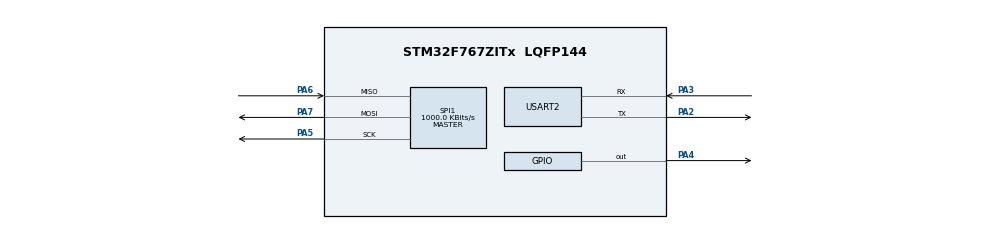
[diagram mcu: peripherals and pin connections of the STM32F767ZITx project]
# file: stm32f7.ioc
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Mcu.Family=STM32F7
Mcu.Name=STM32F767ZITx
Mcu.Package=LQFP144
NVIC.PriorityGroup=NVIC_PRIORITYGROUP_4
PA2.Mode=Asynchronous
PA2.Signal=USART2_TX
PA3.Mode=Asynchronous
PA3.Signal=USART2_RX
PA4.Signal=GPIO_Output
PA5.Mode=Full_Duplex_Master
PA5.Signal=SPI1_SCK
PA6.Mode=Full_Duplex_Master
PA6.Signal=SPI1_MISO
PA7.Mode=Full_Duplex_Master
PA7.Signal=SPI1_MOSI
ProjectManager.HeapSize=0x200
ProjectManager.StackSize=0x400
ProjectManager.TargetToolchain=SW4STM32
RCC.HSE_VALUE=25000000
RCC.HSI_VALUE=16000000
RCC.LSE_VALUE=32768
RCC.USBFreq_Value=96000000
RCC.VCOOutputFreq_Value=192000000
SPI1.BaudRatePrescaler=SPI_BAUDRATEPRESCALER_16
SPI1.CalculateBaudRate=1000.0 KBits/s
SPI1.DataSize=SPI_DATASIZE_8BIT
SPI1.Direction=SPI_DIRECTION_2LINES
SPI1.Mode=SPI_MODE_MASTER
SPI1.VirtualType=VM_MASTER
USART2.VirtualMode-Asynchronous=VM_ASYNC
board=custom

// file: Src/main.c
/* USER CODE BEGIN Header */
/**
  ******************************************************************************
  * @file           : main.c
  * @brief          : Main program body
  ******************************************************************************
  ** This notice applies to any and all portions of this file
  * that are not between comment pairs USER CODE BEGIN and
  * USER CODE END. Other portions of this file, whether
  * inserted by the user or by software development tools
  * are owned by their respective copyright owners.
  *
  * COPYRIGHT(c) 2018 STMicroelectronics
  *
  * Redistribution and use in source and binary forms, with or without modification,
  * are permitted provided that the following conditions are met:
  *   1. Redistributions of source code must retain the above copyright notice,
  *      this list of conditions and the following disclaimer.
  *   2. Redistributions in binary form must reproduce the above copyright notice,
  *      this list of conditions and the following disclaimer in the documentation
  *      and/or other materials provided with the distribution.
  *   3. Neither the name of STMicroelectronics nor the names of its contributors
  *      may be used to endorse or promote products derived from this software
  *      without specific prior written permission.
  *
  * THIS SOFTWARE IS PROVIDED BY THE COPYRIGHT HOLDERS AND CONTRIBUTORS "AS IS"
  * AND ANY EXPRESS OR IMPLIED WARRANTIES, INCLUDING, BUT NOT LIMITED TO, THE
  * IMPLIED WARRANTIES OF MERCHANTABILITY AND FITNESS FOR A PARTICULAR PURPOSE ARE
  * DISCLAIMED. IN NO EVENT SHALL THE COPYRIGHT HOLDER OR CONTRIBUTORS BE LIABLE
  * FOR ANY DIRECT, INDIRECT, INCIDENTAL, SPECIAL, EXEMPLARY, OR CONSEQUENTIAL
  * DAMAGES (INCLUDING, BUT NOT LIMITED TO, PROCUREMENT OF SUBSTITUTE GOODS OR
  * SERVICES; LOSS OF USE, DATA, OR PROFITS; OR BUSINESS INTERRUPTION) HOWEVER
  * CAUSED AND ON ANY THEORY OF LIABILITY, WHETHER IN CONTRACT, STRICT LIABILITY,
  * OR TORT (INCLUDING NEGLIGENCE OR OTHERWISE) ARISING IN ANY WAY OUT OF THE USE
  * OF THIS SOFTWARE, EVEN IF ADVISED OF THE POSSIBILITY OF SUCH DAMAGE.
  *
  ******************************************************************************
  */
/* USER CODE END Header */

#include "main.h"

/* USER CODE BEGIN Includes */
#include "ltc6813.h"
/* USER CODE END Includes */

SPI_HandleTypeDef hspi1;

UART_HandleTypeDef huart2;

/* USER CODE BEGIN PV */
/* Private variables ---------------------------------------------------------*/
uint8_t cell_data[18];
float cell_voltages[36];
float gpio_voltages[18];
uint16_t  cell_v[36][2];
uint16_t gpio_v[18][2];
uint16_t dcc_b[18] =  {

{0x01},//DCC1  0x01  cfg4a
{0x02},//DCC2  0x02
{0x04},//DCC3  0x04
{0x08},//DCC4  0x08-
{0x10},//DCC5  0x10-
{0x20},//DCC6  0x20-
{0x40},//DCC7  0x40-
{0x80},//DCC8  0x80-

{0x01},//DCC9  0x01    cfg5A
{0x02},//DCC10  0x02
{0x04},//DCC11  0x04
{0x08},//DCC12  0x08-

{0x10},//DCC13  0x10-     cfg0b
{0x20},//DCC14  0x20-
{0x40},//DCC15  0x40-
{0x80},//DCC16  0x80-

{0x01},//DCC17 0x01    cfg1b
{0x02}//DCCC18

};

uint16_t dcto_b[16] = {
		{0x00},//disabled
		{0x01},//0,5 min
		{0x02},//1
		{0x03},//2
		{0x04},//3-
		{0x05},//4
		{0x06},//5
		{0x07},//10
		{0x08},//15

		{0x09},//20
		{0x0a},//30
		{0x0b},//40
		{0x0c},//60

		{0x0d},//75
		{0x0e},//90
		{0x0f}//120

};

/* USER CODE END PV */

void SystemClock_Config(void);
static void MX_GPIO_Init(void);
static void MX_SPI1_Init(void);
static void MX_USART2_UART_Init(void);
/* USER CODE BEGIN PFP */
/* Private function prototypes -----------------------------------------------*/

/* USER CODE END PFP */

int main(void)
{

  /* MCU Configuration--------------------------------------------------------*/

  /* Reset of all peripherals, Initializes the Flash interface and the Systick. */
  HAL_Init();

  /* Configure the system clock */
  SystemClock_Config();

  /* Initialize all configured peripherals */
  MX_GPIO_Init();
  MX_SPI1_Init();
  MX_USART2_UART_Init();

  /* Infinite loop */
  while (1)
  {

    /* USER CODE BEGIN 3 */

	  ltc6813_adcv(0, &hspi1);
	  	// ltc6804_adstat( &hspi1);
	  			  HAL_Delay(10);
			   for(uint8_t current_ic = 0; current_ic < 18; current_ic++){
				  ltc6813_rdcv_voltages(2, cell_v,  &hspi1);
//	  			 // void ltc6804_rdstat(SPI_HandleTypeDef hspi1,uint16_t cell_voltages[12][2] );
//	  					//HAL_Delay(500);

	  			 	 	char num[2];
	  			 	 	sprintf(num, "\r\n");
	  			 	 	HAL_UART_Transmit(&huart2, &num, strlen(num), 100);
	  			 	 	 for(int i = 0; i < 18; i++){//check
	  			 	 		 char v[32];
	  			 	 		 sprintf(v, "%d - ",cell_v[i][0]);
	  			 	 		 HAL_UART_Transmit(&huart2, &v, strlen(v), 100);
	  			 	 		HAL_Delay(100);
	   	 		 cell_voltages[0*18+i] = cell_v[i][0]*0.0001f;
	  		 	  	 }
  }

			   //gpio
			   ltc6813_adax(0, &hspi1);

			   	  			  HAL_Delay(10);
			   			   for(uint8_t current_ic = 0; current_ic < 9; current_ic++){
			   				 ltc6813_rdaux(2, gpio_v,&hspi1);
			   //	  			 // void ltc6804_rdstat(SPI_HandleTypeDef hspi1,uint16_t cell_voltages[12][2] );
			   //	  					//HAL_Delay(500);

			   	  			 	 	char num1[2];
			   	  			 	 	sprintf(num1, "\r\n");
			   	  			 	 	HAL_UART_Transmit(&huart2, &num1, strlen(num1), 100);
			   	  			 	 	 for(int i = 0; i < 9; i++){//check
			   	  			 	 		 char v[32];
			   	  			 	 		 sprintf(v, "%d - ",gpio_v[i][0]);
			   	  			 	 		 HAL_UART_Transmit(&huart2, &v, strlen(v), 100);
			   	  			 	 		HAL_Delay(100);
			   	  			 	 	gpio_voltages[0*9+i] = gpio_v[i][0]*0.0001f;
			   	  		 	  	 }
			     }

  }

  /* USER CODE END 3 */
}

void SystemClock_Config(void)
{
  RCC_OscInitTypeDef RCC_OscInitStruct = {0};
  RCC_ClkInitTypeDef RCC_ClkInitStruct = {0};
  RCC_PeriphCLKInitTypeDef PeriphClkInitStruct = {0};

  /**Configure the main internal regulator output voltage
  */
  __HAL_RCC_PWR_CLK_ENABLE();
  __HAL_PWR_VOLTAGESCALING_CONFIG(PWR_REGULATOR_VOLTAGE_SCALE3);
  /**Initializes the CPU, AHB and APB busses clocks
  */
  RCC_OscInitStruct.OscillatorType = RCC_OSCILLATORTYPE_HSI;
  RCC_OscInitStruct.HSIState = RCC_HSI_ON;
  RCC_OscInitStruct.HSICalibrationValue = RCC_HSICALIBRATION_DEFAULT;
  RCC_OscInitStruct.PLL.PLLState = RCC_PLL_NONE;
  if (HAL_RCC_OscConfig(&RCC_OscInitStruct) != HAL_OK)
  {
    Error_Handler();
  }
  /**Initializes the CPU, AHB and APB busses clocks
  */
  RCC_ClkInitStruct.ClockType = RCC_CLOCKTYPE_HCLK|RCC_CLOCKTYPE_SYSCLK
                              |RCC_CLOCKTYPE_PCLK1|RCC_CLOCKTYPE_PCLK2;
  RCC_ClkInitStruct.SYSCLKSource = RCC_SYSCLKSOURCE_HSI;
  RCC_ClkInitStruct.AHBCLKDivider = RCC_SYSCLK_DIV1;
  RCC_ClkInitStruct.APB1CLKDivider = RCC_HCLK_DIV1;
  RCC_ClkInitStruct.APB2CLKDivider = RCC_HCLK_DIV1;

  if (HAL_RCC_ClockConfig(&RCC_ClkInitStruct, FLASH_LATENCY_0) != HAL_OK)
  {
    Error_Handler();
  }
  PeriphClkInitStruct.PeriphClockSelection = RCC_PERIPHCLK_USART2;
  PeriphClkInitStruct.Usart2ClockSelection = RCC_USART2CLKSOURCE_PCLK1;
  if (HAL_RCCEx_PeriphCLKConfig(&PeriphClkInitStruct) != HAL_OK)
  {
    Error_Handler();
  }
}

static void MX_SPI1_Init(void)
{

  /* SPI1 parameter configuration*/
  hspi1.Instance = SPI1;
  hspi1.Init.Mode = SPI_MODE_MASTER;
  hspi1.Init.Direction = SPI_DIRECTION_2LINES;
  hspi1.Init.DataSize = SPI_DATASIZE_8BIT;
  hspi1.Init.CLKPolarity = SPI_POLARITY_LOW;
  hspi1.Init.CLKPhase = SPI_PHASE_1EDGE;
  hspi1.Init.NSS = SPI_NSS_SOFT;
  hspi1.Init.BaudRatePrescaler = SPI_BAUDRATEPRESCALER_16;
  hspi1.Init.FirstBit = SPI_FIRSTBIT_MSB;
  hspi1.Init.TIMode = SPI_TIMODE_DISABLE;
  hspi1.Init.CRCCalculation = SPI_CRCCALCULATION_DISABLE;
  hspi1.Init.CRCPolynomial = 7;
  hspi1.Init.CRCLength = SPI_CRC_LENGTH_DATASIZE;
  hspi1.Init.NSSPMode = SPI_NSS_PULSE_ENABLE;
  if (HAL_SPI_Init(&hspi1) != HAL_OK)
  {
    Error_Handler();
  }

}

static void MX_USART2_UART_Init(void)
{

  huart2.Instance = USART2;
  huart2.Init.BaudRate = 115200;
  huart2.Init.WordLength = UART_WORDLENGTH_8B;
  huart2.Init.StopBits = UART_STOPBITS_1;
  huart2.Init.Parity = UART_PARITY_NONE;
  huart2.Init.Mode = UART_MODE_TX_RX;
  huart2.Init.HwFlowCtl = UART_HWCONTROL_NONE;
  huart2.Init.OverSampling = UART_OVERSAMPLING_16;
  huart2.Init.OneBitSampling = UART_ONE_BIT_SAMPLE_DISABLE;
  huart2.AdvancedInit.AdvFeatureInit = UART_ADVFEATURE_NO_INIT;
  if (HAL_UART_Init(&huart2) != HAL_OK)
  {
    Error_Handler();
  }

}

static void MX_GPIO_Init(void)
{
  GPIO_InitTypeDef GPIO_InitStruct = {0};

  /* GPIO Ports Clock Enable */
  __HAL_RCC_GPIOA_CLK_ENABLE();

  /*Configure GPIO pin Output Level */
  HAL_GPIO_WritePin(GPIOA, GPIO_PIN_4, GPIO_PIN_RESET);

  /*Configure GPIO pin : PA4 */
  GPIO_InitStruct.Pin = GPIO_PIN_4;
  GPIO_InitStruct.Mode = GPIO_MODE_OUTPUT_PP;
  GPIO_InitStruct.Pull = GPIO_NOPULL;
  GPIO_InitStruct.Speed = GPIO_SPEED_FREQ_LOW;
  HAL_GPIO_Init(GPIOA, &GPIO_InitStruct);

}

void Error_Handler(void)
{
  while(1)
  {
  }
}

/************************ (C) COPYRIGHT STMicroelectronics *****END OF FILE****/
